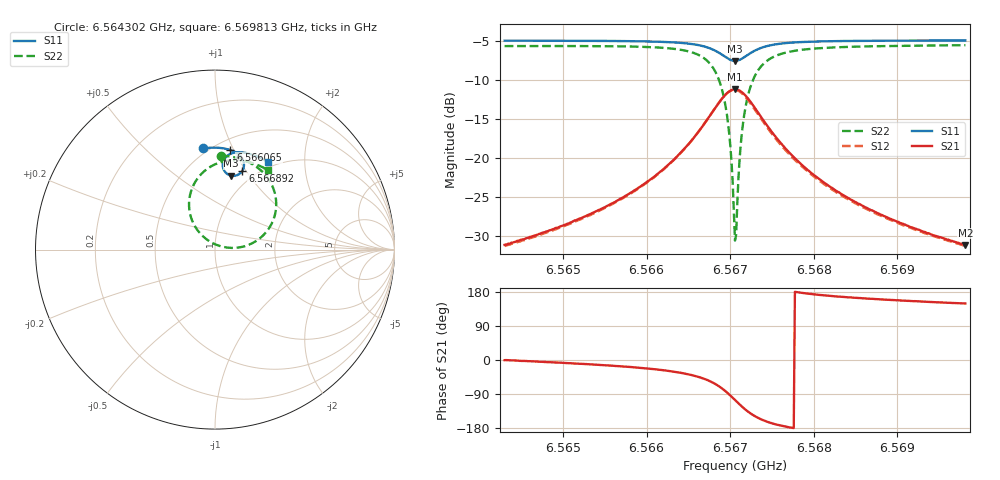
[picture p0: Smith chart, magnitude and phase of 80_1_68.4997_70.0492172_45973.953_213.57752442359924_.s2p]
#  HZ  S  RI  R  50.00
! Rohde & Schwarz Vector Network Analyzer
! Rohde-Schwarz,ZNB20-2Port,1311601062101988,3.16
! Created: UTC 3/20/2024, 5:07:15 PM
! freq[Hz]  re:S11  im:S11  re:S21  im:S21  re:S12  im:S12  re:S22  im:S22
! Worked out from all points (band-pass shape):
!   401 points, 6.564302 GHz to 6.569813 GHz, reference 50 ohm
!   highest |S21| = -11.15 dB at 6.567058 GHz (marker M1); lowest = -31.2 dB at 6.569813 GHz (marker M2)
!   |S21| within 3 dB of the highest: 6.566783 GHz to 6.567334 GHz (550.5 kHz wide, 0.00838 % of centre)
!   lowest |S11| = -7.5 dB at 6.567058 GHz (marker M3), VSWR 2.46, Z = 41.2 + j41.3 ohm
!   |S11| at or under -10 dB: nowhere
!   |S22| runs from -30.6 to -5.5 dB; largest |S21 - S12| = 0.013
!   S11 on the Smith chart (normalised r, x): 6.564302 GHz: 0.46, +0.78; 6.566065 GHz: 0.60, +0.97; 6.566892 GHz: 0.86, +0.97; 6.569813 GHz: 0.92, +1.33
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6.5643017e9  -0.0671 0.5651  0.0276 -0.000197  0.0271 -0.000551  0.0323 0.5242
6.5652249e9  0.00819 0.5678  0.0405 -0.00738  0.0399 -0.00793  0.119 0.5116
6.5660654e9  0.0861 0.555  0.0679 -0.0297  0.0668 -0.0306  0.2264 0.4645
6.5661481e9  0.0948 0.552  0.0725 -0.0348  0.0712 -0.0355  0.2402 0.4545
6.5664513e9  0.1294 0.533  0.0932 -0.0666  0.0917 -0.0678  0.299 0.3916
6.5666717e9  0.1547 0.5021  0.107 -0.1199  0.1045 -0.1222  0.3386 0.2885
6.5667957e9  0.1616 0.4714  0.0998 -0.1741  0.0955 -0.1771  0.3317 0.1857
6.5668922e9  0.1529 0.4403  0.0678 -0.2272  0.0604 -0.2301  0.2747 0.0858
6.5669749e9  0.1278 0.4169  0.00818 -0.2647  -0.00256 -0.2648  0.1656 0.0188
6.5670024e9  0.1158 0.4126  -0.0181 -0.2706  -0.0294 -0.269  0.1181 0.0103
6.5670438e9  0.0963 0.4111  -0.0602 -0.2697  -0.0717 -0.2652  0.0432 0.0155
6.5670575e9  0.0895 0.4121  -0.0741 -0.2668  -0.0853 -0.261  0.0188 0.0226
6.5670713e9  0.0831 0.4139  -0.0878 -0.2622  -0.0987 -0.2555  -0.00459 0.0319
6.5670851e9  0.0769 0.4165  -0.1007 -0.2564  -0.1111 -0.2488  -0.0267 0.0438
6.5671264e9  0.0609 0.4276  -0.1348 -0.2325  -0.1429 -0.2227  -0.0829 0.0901
6.5671678e9  0.0498 0.4424  -0.1589 -0.2023  -0.1644 -0.1914  -0.1205 0.1462
6.5672229e9  0.0432 0.4639  -0.1761 -0.1597  -0.1782 -0.149  -0.143 0.2226
6.5672918e9  0.0453 0.4882  -0.1787 -0.1127  -0.178 -0.1036  -0.139 0.3044
6.5675398e9  0.0838 0.5322  -0.1353 -0.0248  -0.1324 -0.0209  -0.041 0.4514
6.5679807e9  0.1446 0.5423  -0.0789 0.00852  -0.077 0.00972  0.0883 0.4972
6.5689039e9  0.2298 0.5208  -0.038 0.0149  -0.0372 0.0152  0.2183 0.4786
6.5698134e9  0.2964 0.4879  -0.0236 0.0141  -0.0231 0.0143  0.2968 0.4417
